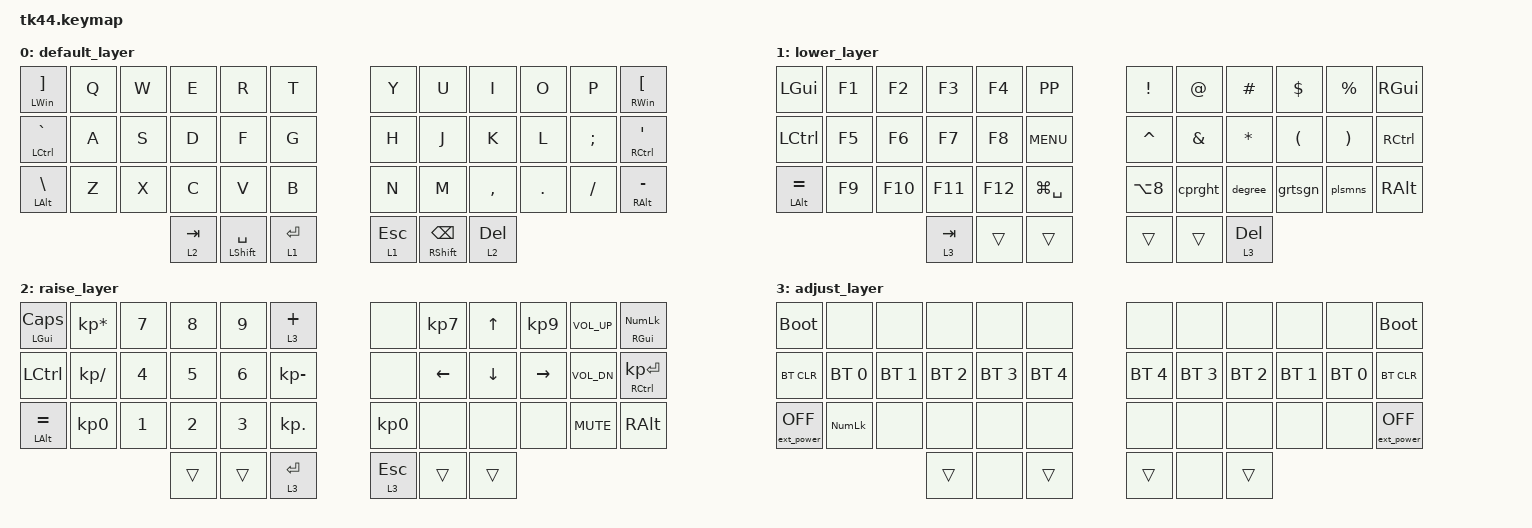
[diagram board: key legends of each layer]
/*
 * Copyright (c) 2023 The ZMK Contributors
 * Kinda watchman and ft256 combo
 * SPDX-License-Identifier: MIT
 */

#include <behaviors.dtsi>
#include <dt-bindings/zmk/keys.h>
#include <dt-bindings/zmk/bt.h>
#include <dt-bindings/zmk/outputs.h>
#include <dt-bindings/zmk/ext_power.h> // from watchman original

#define DEF 0
#define LWR 1
#define RSE 2
#define ADJ 3

&lt { quick-tap-ms = <200>; }; 
&mt { quick-tap-ms = <200>; };

/ {
  chosen {
    zmk,matrix_transform = &corjik_transform; // krikun98 fix for 42 key designation
  };
};

// code under from watchman numpad edition and ft256

/ {
    macros {
        numdot: numdot {
            label = "ZM_numdot";
            compatible = "zmk,behavior-macro";
            #binding-cells = <0>;
            wait-ms = <40>;
            tap-ms = <40>;
            bindings =
                <&macro_press>,
                <&kp LALT>,
                <&macro_tap>,
                <&kp KP_N4 &kp KP_N6>,
                <&macro_release>,
                <&kp LALT>;
        };
        grtsgn: grtsgn {
            label = "ZM_grtsgn";
            compatible = "zmk,behavior-macro";
            #binding-cells = <0>;
            wait-ms = <40>;
            tap-ms = <40>;
            bindings =
                <&macro_press>,
                <&kp LALT>,
                <&macro_tap>,
                <&kp KP_N6 &kp KP_N2>,
                <&macro_release>,
                <&kp LALT>;
        };
          cprght: cprght {
            label = "ZM_cprght";
            compatible = "zmk,behavior-macro";
            #binding-cells = <0>;
            wait-ms = <40>;
            tap-ms = <40>;
            bindings =
                <&macro_press>,
                <&kp LALT>,
                <&macro_tap>,
                <&kp KP_N0 &kp KP_N1 &kp KP_N6 &kp KP_N9>,
                <&macro_release>,
                <&kp LALT>;
        };
        degree: degree {
            label = "ZM_degree";
            compatible = "zmk,behavior-macro";
            #binding-cells = <0>;
            wait-ms = <40>;
            tap-ms = <40>;
            bindings =
                <&macro_press>,
                <&kp LALT>,
                <&macro_tap>,
                <&kp KP_N0 &kp KP_N1 &kp KP_N7 &kp KP_N6>,
                <&macro_release>,
                <&kp LALT>;
        };
        plsmns: plsmns {
            label = "ZM_plsmns";
            compatible = "zmk,behavior-macro";
            #binding-cells = <0>;
            wait-ms = <40>;
            tap-ms = <40>;
            bindings =
                <&macro_press>,
                <&kp LALT>,
                <&macro_tap>,
                <&kp KP_N0 &kp KP_N1 &kp KP_N7 &kp KP_N7>,
                <&macro_release>,
                <&kp LALT>;
        };
    };
};

/ {
    keymap {
        compatible = "zmk,keymap";

        default_layer {
            bindings = <
   &mt LWIN RBKT   &kp Q   &kp W      &kp E            &kp R      &kp T      &kp Y           &kp U      &kp I    &kp O     &kp P   &mt RWIN LBKT
 &mt LCTRL GRAVE   &kp A   &kp S      &kp D            &kp F      &kp G      &kp H           &kp J      &kp K    &kp L  &kp SEMI   &mt RCTRL SQT
   &mt LALT BSLH   &kp Z   &kp X      &kp C            &kp V      &kp B      &kp N           &kp M  &kp COMMA  &kp DOT  &kp FSLH  &mt RALT MINUS
                                  &lt 2 TAB  &mt LSHFT SPACE  &lt 1 RET  &lt 1 ESC  &mt RSHFT BSPC  &lt 2 DEL
            >;
        };

        lower_layer {
            bindings = <
     &kp LGUI  &kp F1   &kp F2     &kp F3   &kp F4       &kp K_PP    &kp EXCL         &kp AT   &kp HASH  &kp DOLLAR  &kp PERCENT   &kp RGUI
    &kp LCTRL  &kp F5   &kp F6     &kp F7   &kp F8     &kp K_MENU   &kp CARET       &kp AMPS   &kp STAR    &kp LPAR     &kp RPAR  &kp RCTRL
 &mt LALT EQUAL  &kp F9  &kp F10    &kp F11  &kp F12  &kp LG(SPACE)  &kp LA(N8)      &cprght     &degree     &grtsgn       &plsmns   &kp RALT
                                &lt 3 TAB   &trans         &trans      &trans         &trans  &lt 3 DEL
            >;
        };

        raise_layer {
            bindings = <
     &mt LEFT_GUI CAPS  &kp KP_MULTIPLY  &kp N7  &kp N8  &kp N9    &lt 3 PLUS      &none  &kp KP_N7  &kp UP  &kp KP_N9  &kp C_VOL_UP  &mt RIGHT_GUI KP_NUMLOCK
             &kp LCTRL     &kp KP_SLASH  &kp N4  &kp N5  &kp N6  &kp KP_MINUS      &none  &kp LEFT  &kp DOWN  &kp RIGHT  &kp C_VOL_DN        &mt RCTRL KP_ENTER
 &mt LALT EQUAL  &kp KP_NUMBER_0  &kp N1  &kp N2  &kp N3    &kp KP_DOT  &kp KP_N0  &none   &none   &none    &kp C_MUTE                  &kp RALT
                                                 &trans  &trans     &lt 3 RET  &lt 3 ESC     &trans     &trans
            >;
        };

        adjust_layer {
            bindings = <
       &bootloader         &none         &none         &none         &none         &none         &none         &none         &none         &none         &none        &bootloader
        &bt BT_CLR  &bt BT_SEL 0  &bt BT_SEL 1  &bt BT_SEL 2  &bt BT_SEL 3  &bt BT_SEL 4  &bt BT_SEL 4  &bt BT_SEL 3  &bt BT_SEL 2  &bt BT_SEL 1  &bt BT_SEL 0         &bt BT_CLR
 &ext_power EP_OFF    &kp KP_NUM         &none         &none         &none         &none         &none         &none         &none         &none         &none  &ext_power EP_OFF
                                                      &trans         &none        &trans        &trans         &none        &trans
            >;
        };
    };
};
